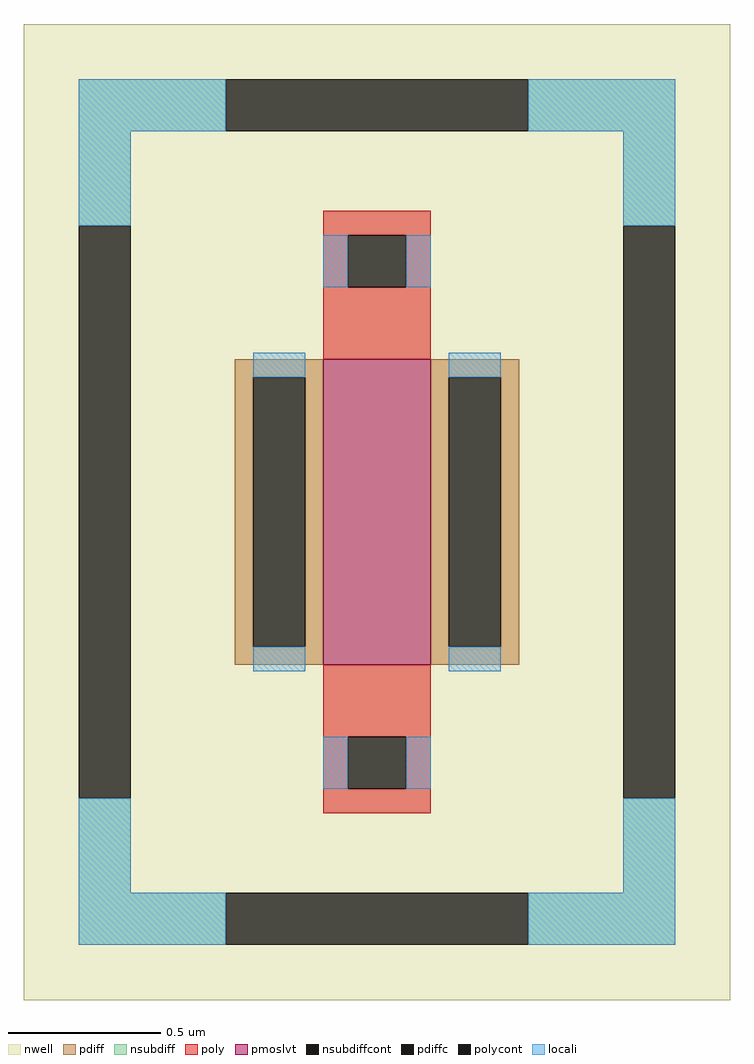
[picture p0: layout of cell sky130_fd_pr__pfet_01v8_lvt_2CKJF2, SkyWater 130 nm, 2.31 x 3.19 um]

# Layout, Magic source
magic
tech sky130A
magscale 1 2
<< nwell >>
rect -231 -319 231 319
<< pmoslvt >>
rect -35 -100 35 100
<< pdiff >>
rect -93 88 -35 100
rect -93 -88 -81 88
rect -47 -88 -35 88
rect -93 -100 -35 -88
rect 35 88 93 100
rect 35 -88 47 88
rect 81 -88 93 88
rect 35 -100 93 -88
<< pdiffc >>
rect -81 -88 -47 88
rect 47 -88 81 88
<< nsubdiff >>
rect -195 249 -99 283
rect 99 249 195 283
rect -195 187 -161 249
rect 161 187 195 249
rect -195 -249 -161 -187
rect 161 -249 195 -187
rect -195 -283 -99 -249
rect 99 -283 195 -249
<< nsubdiffcont >>
rect -99 249 99 283
rect -195 -187 -161 187
rect 161 -187 195 187
rect -99 -283 99 -249
<< poly >>
rect -35 181 35 197
rect -35 147 -19 181
rect 19 147 35 181
rect -35 100 35 147
rect -35 -147 35 -100
rect -35 -181 -19 -147
rect 19 -181 35 -147
rect -35 -197 35 -181
<< polycont >>
rect -19 147 19 181
rect -19 -181 19 -147
<< locali >>
rect -195 249 -99 283
rect 99 249 195 283
rect -195 187 -161 249
rect 161 187 195 249
rect -35 147 -19 181
rect 19 147 35 181
rect -81 88 -47 104
rect -81 -104 -47 -88
rect 47 88 81 104
rect 47 -104 81 -88
rect -35 -181 -19 -147
rect 19 -181 35 -147
rect -195 -249 -161 -187
rect 161 -249 195 -187
rect -195 -283 -99 -249
rect 99 -283 195 -249
<< properties >>
string gencell sky130_fd_pr__pfet_01v8_lvt
string FIXED_BBOX -178 -266 178 266
string parameters w 1 l 0.35 m 1 nf 1 diffcov 100 polycov 100 guard 1 glc 1 grc 1 gtc 1 gbc 1 tbcov 100 rlcov 100 topc 1 botc 1 poverlap 0 doverlap 1 lmin 0.35 wmin 0.42 compatible {sky130_fd_pr__pfet_01v8  sky130_fd_pr__pfet_01v8_lvt sky130_fd_pr__pfet_01v8_hvt  sky130_fd_pr__pfet_g5v0d10v5} full_metal 1
string library sky130
<< end >>
